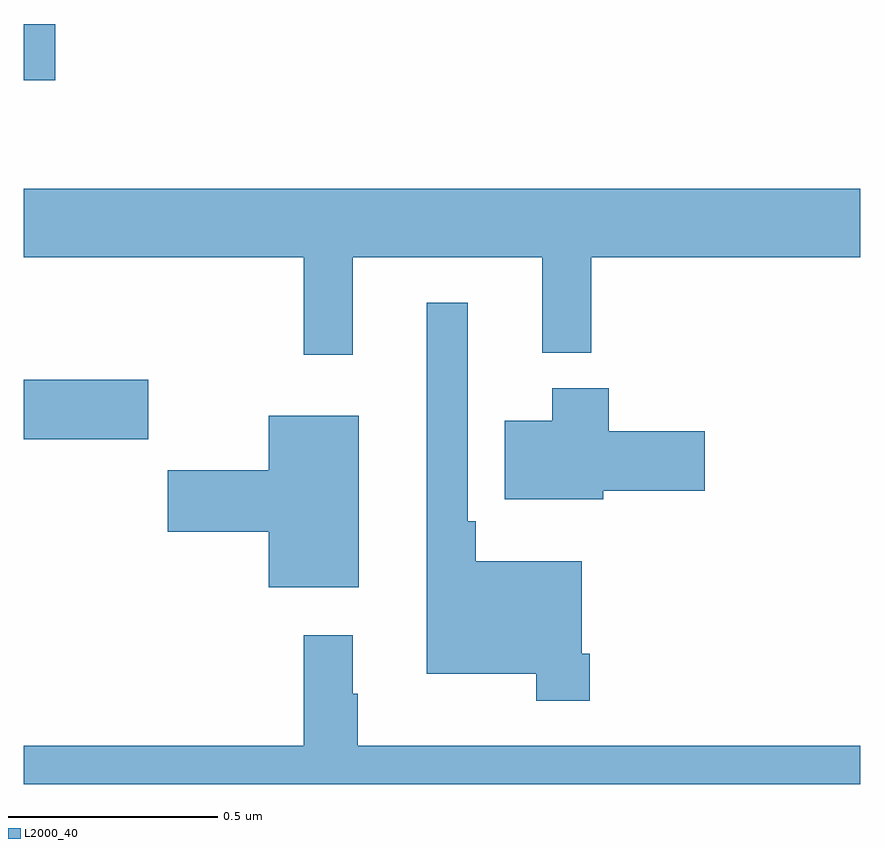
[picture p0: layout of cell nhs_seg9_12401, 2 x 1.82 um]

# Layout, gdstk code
import gdstk
lib = gdstk.Library(unit=1e-6, precision=1e-09)
def R(c, l, rs):  # rectangles x0, y0, x1, y1
    for r in rs: c.add(gdstk.rectangle(r[:2], r[2:], *l))
def P(c, l, *ps):  # polygons
    for p in ps: c.add(gdstk.Polygon(p, *l))
L2000_40 = (2000, 40)

nhs_seg9_12401 = lib.new_cell('nhs_seg9_12401')
R(nhs_seg9_12401, L2000_40, [(268,1189.325,268.297,1189.467), (268,1190.183,268.075,1190.318)])
P(nhs_seg9_12401, L2000_40, [(268.787,1189.76),(269.24,1189.76),(269.24,1189.532),(269.357,1189.532),(269.357,1189.76),(270,1189.76),(270,1189.924),(268,1189.924),(268,1189.76),(268.669,1189.76),(268.669,1189.527),(268.787,1189.527)],
  [(269.354,1188.811),(269.334,1188.811),(269.334,1189.033),(269.081,1189.033),(269.081,1189.129),(269.061,1189.129),(269.061,1189.651),(268.964,1189.651),(268.964,1188.764),(269.226,1188.764),(269.226,1188.699),(269.354,1188.699)],
  [(269.386,1189.202),(269.629,1189.202),(269.629,1189.344),(269.399,1189.344),(269.399,1189.447),(269.264,1189.447),(269.264,1189.369),(269.15,1189.369),(269.15,1189.181),(269.386,1189.181)],
  [(268.801,1189.381),(268.586,1189.381),(268.586,1189.25),(268.344,1189.25),(268.344,1189.103),(268.586,1189.103),(268.586,1188.971),(268.801,1188.971)],
  [(270,1188.592),(268.798,1188.592),(268.798,1188.716),(268.786,1188.716),(268.786,1188.856),(268.669,1188.856),(268.669,1188.592),(268,1188.592),(268,1188.5),(270,1188.5)])

lib.write_gds('nhs_seg9_12401.gds')
